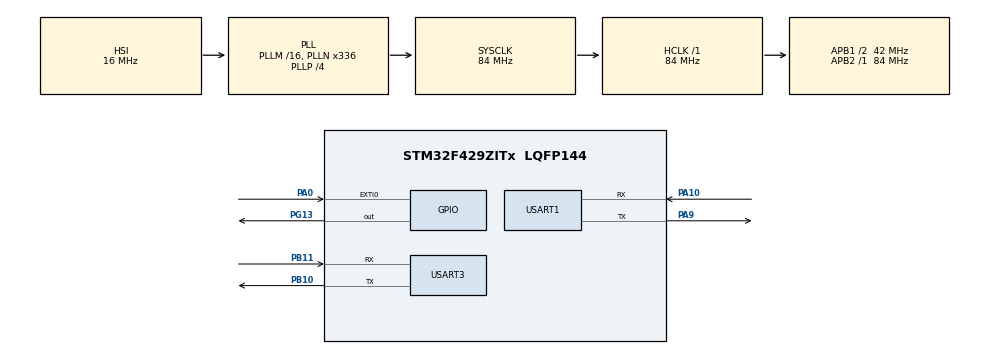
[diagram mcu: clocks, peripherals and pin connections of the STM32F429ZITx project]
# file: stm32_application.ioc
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Mcu.Family=STM32F4
Mcu.Name=STM32F429ZITx
Mcu.Package=LQFP144
NVIC.EXTI0_IRQn=true\:0\:0\:false\:false\:true\:true\:true\:true
NVIC.PriorityGroup=NVIC_PRIORITYGROUP_4
PA0/WKUP.Signal=GPXTI0
PA10.Mode=Asynchronous
PA10.Signal=USART1_RX
PA9.Mode=Asynchronous
PA9.Signal=USART1_TX
PB10.Mode=Asynchronous
PB10.Signal=USART3_TX
PB11.Mode=Asynchronous
PB11.Signal=USART3_RX
PG13.Signal=GPIO_Output
ProjectManager.HeapSize=0x200
ProjectManager.StackSize=0x400
ProjectManager.TargetToolchain=STM32CubeIDE
RCC.48MHZClocksFreq_Value=84000000
RCC.AHBFreq_Value=84000000
RCC.APB1CLKDivider=RCC_HCLK_DIV2
RCC.APB1Freq_Value=42000000
RCC.APB1TimFreq_Value=84000000
RCC.APB2Freq_Value=84000000
RCC.APB2TimFreq_Value=84000000
RCC.CortexFreq_Value=84000000
RCC.HCLKFreq_Value=84000000
RCC.HSE_VALUE=25000000
RCC.HSI_VALUE=16000000
RCC.LSE_VALUE=32768
RCC.PLLN=336
RCC.PLLP=RCC_PLLP_DIV4
RCC.SYSCLKFreq_VALUE=84000000
RCC.SYSCLKSource=RCC_SYSCLKSOURCE_PLLCLK
RCC.VCOOutputFreq_Value=336000000
USART1.VirtualMode=VM_ASYNC
USART3.VirtualMode=VM_ASYNC
board=custom

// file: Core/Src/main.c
/* USER CODE BEGIN Header */
/**
  ******************************************************************************
  * @file           : main.c
  * @brief          : Main program body
  ******************************************************************************
  * @attention
  *
  * Copyright (c) 2023 STMicroelectronics.
  * All rights reserved.
  *
  * This software is licensed under terms that can be found in the LICENSE file
  * in the root directory of this software component.
  * If no LICENSE file comes with this software, it is provided AS-IS.
  *
  ******************************************************************************
  */
/* USER CODE END Header */
#include "main.h"

/* USER CODE BEGIN Includes */
#include <stdarg.h>
#include <string.h>
/* USER CODE END Includes */

UART_HandleTypeDef huart1;
UART_HandleTypeDef huart3;

/* USER CODE BEGIN PV */
char HelloInApp[] = "Hello again, from Application\r\n";
/* USER CODE END PV */

void SystemClock_Config(void);
static void MX_GPIO_Init(void);
static void MX_USART3_UART_Init(void);
static void MX_USART1_UART_Init(void);
/* USER CODE BEGIN PFP */
static void printmsg(char *format,...);
/* USER CODE END PFP */

int main(void)
{

  /* MCU Configuration--------------------------------------------------------*/

  /* Reset of all peripherals, Initializes the Flash interface and the Systick. */
  HAL_Init();

  /* Configure the system clock */
  SystemClock_Config();

  /* Initialize all configured peripherals */
  MX_GPIO_Init();
  MX_USART3_UART_Init();
  MX_USART1_UART_Init();

  /* Infinite loop */
  /* USER CODE BEGIN WHILE */
  while (1)
  {
    /* USER CODE BEGIN 3 */
  	printmsg(HelloInApp);
  	uint32_t current_tick = HAL_GetTick();
  	while(HAL_GetTick() <= current_tick +1000);
    /* USER CODE END 3 */
  }
  /* USER CODE END WHILE */

}

void SystemClock_Config(void)
{
  RCC_OscInitTypeDef RCC_OscInitStruct = {0};
  RCC_ClkInitTypeDef RCC_ClkInitStruct = {0};

  /** Configure the main internal regulator output voltage
  */
  __HAL_RCC_PWR_CLK_ENABLE();
  __HAL_PWR_VOLTAGESCALING_CONFIG(PWR_REGULATOR_VOLTAGE_SCALE3);

  /** Initializes the RCC Oscillators according to the specified parameters
  * in the RCC_OscInitTypeDef structure.
  */
  RCC_OscInitStruct.OscillatorType = RCC_OSCILLATORTYPE_HSI;
  RCC_OscInitStruct.HSIState = RCC_HSI_ON;
  RCC_OscInitStruct.HSICalibrationValue = RCC_HSICALIBRATION_DEFAULT;
  RCC_OscInitStruct.PLL.PLLState = RCC_PLL_ON;
  RCC_OscInitStruct.PLL.PLLSource = RCC_PLLSOURCE_HSI;
  RCC_OscInitStruct.PLL.PLLM = 16;
  RCC_OscInitStruct.PLL.PLLN = 336;
  RCC_OscInitStruct.PLL.PLLP = RCC_PLLP_DIV4;
  RCC_OscInitStruct.PLL.PLLQ = 4;
  if (HAL_RCC_OscConfig(&RCC_OscInitStruct) != HAL_OK)
  {
    Error_Handler();
  }

  /** Initializes the CPU, AHB and APB buses clocks
  */
  RCC_ClkInitStruct.ClockType = RCC_CLOCKTYPE_HCLK|RCC_CLOCKTYPE_SYSCLK
                              |RCC_CLOCKTYPE_PCLK1|RCC_CLOCKTYPE_PCLK2;
  RCC_ClkInitStruct.SYSCLKSource = RCC_SYSCLKSOURCE_PLLCLK;
  RCC_ClkInitStruct.AHBCLKDivider = RCC_SYSCLK_DIV1;
  RCC_ClkInitStruct.APB1CLKDivider = RCC_HCLK_DIV2;
  RCC_ClkInitStruct.APB2CLKDivider = RCC_HCLK_DIV1;

  if (HAL_RCC_ClockConfig(&RCC_ClkInitStruct, FLASH_LATENCY_2) != HAL_OK)
  {
    Error_Handler();
  }
}

static void MX_USART1_UART_Init(void)
{

  huart1.Instance = USART1;
  huart1.Init.BaudRate = 115200;
  huart1.Init.WordLength = UART_WORDLENGTH_8B;
  huart1.Init.StopBits = UART_STOPBITS_1;
  huart1.Init.Parity = UART_PARITY_NONE;
  huart1.Init.Mode = UART_MODE_TX_RX;
  huart1.Init.HwFlowCtl = UART_HWCONTROL_NONE;
  huart1.Init.OverSampling = UART_OVERSAMPLING_16;
  if (HAL_UART_Init(&huart1) != HAL_OK)
  {
    Error_Handler();
  }

}

static void MX_USART3_UART_Init(void)
{

  huart3.Instance = USART3;
  huart3.Init.BaudRate = 115200;
  huart3.Init.WordLength = UART_WORDLENGTH_8B;
  huart3.Init.StopBits = UART_STOPBITS_1;
  huart3.Init.Parity = UART_PARITY_NONE;
  huart3.Init.Mode = UART_MODE_TX_RX;
  huart3.Init.HwFlowCtl = UART_HWCONTROL_NONE;
  huart3.Init.OverSampling = UART_OVERSAMPLING_16;
  if (HAL_UART_Init(&huart3) != HAL_OK)
  {
    Error_Handler();
  }

}

static void MX_GPIO_Init(void)
{
  GPIO_InitTypeDef GPIO_InitStruct = {0};

  /* GPIO Ports Clock Enable */
  __HAL_RCC_GPIOA_CLK_ENABLE();
  __HAL_RCC_GPIOB_CLK_ENABLE();
  __HAL_RCC_GPIOG_CLK_ENABLE();

  /*Configure GPIO pin Output Level */
  HAL_GPIO_WritePin(GPIOG, GPIO_PIN_13, GPIO_PIN_RESET);

  /*Configure GPIO pin : PA0 */
  GPIO_InitStruct.Pin = GPIO_PIN_0;
  GPIO_InitStruct.Mode = GPIO_MODE_IT_RISING;
  GPIO_InitStruct.Pull = GPIO_NOPULL;
  HAL_GPIO_Init(GPIOA, &GPIO_InitStruct);

  /*Configure GPIO pin : PG13 */
  GPIO_InitStruct.Pin = GPIO_PIN_13;
  GPIO_InitStruct.Mode = GPIO_MODE_OUTPUT_PP;
  GPIO_InitStruct.Pull = GPIO_NOPULL;
  GPIO_InitStruct.Speed = GPIO_SPEED_FREQ_LOW;
  HAL_GPIO_Init(GPIOG, &GPIO_InitStruct);

  /* EXTI interrupt init*/
  HAL_NVIC_SetPriority(EXTI0_IRQn, 0, 0);
  HAL_NVIC_EnableIRQ(EXTI0_IRQn);

}

/* USER CODE BEGIN 4 */

/* prints formatted string over USART */
void printmsg(char *format,...)
{
#ifdef APP_DEBUG_MSG
	char str[80];

	va_list args;
	va_start(args, format);
	vsprintf(str, format, args);
	HAL_UART_Transmit(&huart1, (uint8_t *)str, strlen(str), HAL_MAX_DELAY);
	va_end(args);
#endif
}

void HAL_GPIO_EXTI_Callback(uint16_t GPIO_Pin)
{
	if (GPIO_PIN_0 == GPIO_Pin)
	{
		HAL_GPIO_TogglePin(GPIOG, GPIO_PIN_13);
	}

}
/* USER CODE END 4 */

void Error_Handler(void)
{
  __disable_irq();
  while (1)
  {
  }
}
